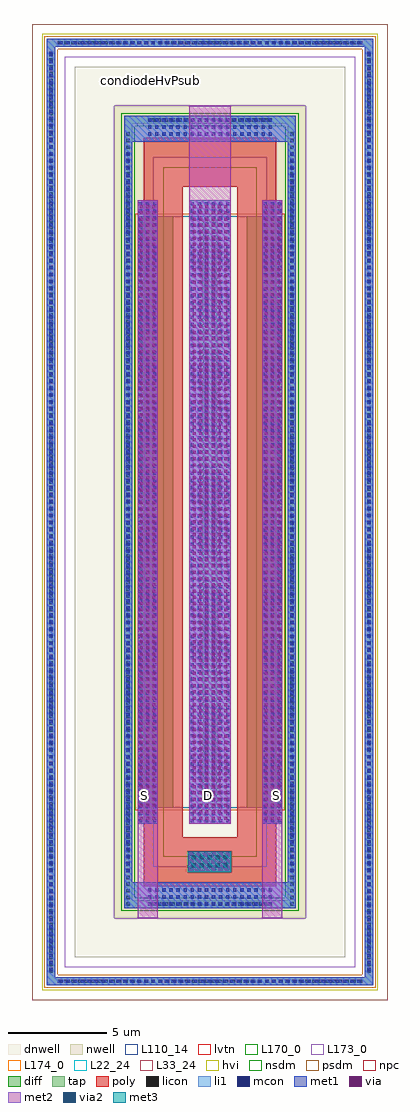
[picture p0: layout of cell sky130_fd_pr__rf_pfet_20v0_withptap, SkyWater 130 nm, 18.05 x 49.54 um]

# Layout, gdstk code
import gdstk
lib = gdstk.Library(unit=1e-6, precision=1e-09)
def R(c, l, rs):  # rectangles x0, y0, x1, y1
    for r in rs: c.add(gdstk.rectangle(r[:2], r[2:], *l))
def A(c, l, x, y, w, h, nx, ny, dx, dy):  # array of equal rectangles
    R(c, l, [(x+i*dx, y+j*dy, x+i*dx+w, y+j*dy+h) for i in range(nx) for j in range(ny)])
def P(c, l, *ps):  # polygons
    for p in ps: c.add(gdstk.Polygon(p, *l))
L22_24 = (22, 24)
L33_24 = (33, 24)
dnwell = (64, 18)
nwell = (64, 20)
diff = (65, 20)
tap = (65, 44)
poly = (66, 20)
licon = (66, 44)
li1 = (67, 20)
mcon = (67, 44)
met1 = (68, 20)
via = (68, 44)
met2 = (69, 20)
via2 = (69, 44)
met3 = (70, 20)
hvi = (75, 20)
nsdm = (93, 44)
psdm = (94, 20)
npc = (95, 20)
L110_14 = (110, 14)
lvtn = (125, 44)
L170_0 = (170, 0)
L173_0 = (173, 0)
L174_0 = (174, 0)

sky130_fd_pr__rf_pfet_20 = lib.new_cell('sky130_fd_pr__rf_pfet_20v0_withptap')
R(sky130_fd_pr__rf_pfet_20, L22_24, [(-8.65,-9.77,9.4,39.77)])
R(sky130_fd_pr__rf_pfet_20, L33_24, [(-8.65,-9.77,9.4,39.77)])
R(sky130_fd_pr__rf_pfet_20, dnwell, [(-6.49,-7.61,7.24,37.61)])
P(sky130_fd_pr__rf_pfet_20, nwell, [(-4.49,-5.61),(-4.49,33),(-2.5,33),(-2.5,-3),(3.25,-3),(3.25,33),(-4.49,33),(-4.49,35.61),(5.24,35.61),(5.24,-5.61)])
R(sky130_fd_pr__rf_pfet_20, diff, [(-3.29,0,-2.5,30), (3.25,0,4.04,30), (-3.27,0.045,-3.02,29.915), (3.77,0.045,4.02,29.915)])
R(sky130_fd_pr__rf_pfet_20, tap, [(-7.48,-9.02,8.23,-8.61), (-7.9,-8.51,-7.49,38.48), (8.24,-8.51,8.65,38.48), (-3.99,-5.11,-3.58,34.4), (-2.72,-5.11,3.47,-4.7), (4.33,-5.11,4.74,34.4), (-2.5,0,-1.5,30), (2.25,0,3.25,30), (0,0.165,0.75,29.815), (-2.72,34.7,3.47,35.11), (-7.48,38.61,8.23,39.02)])
P(sky130_fd_pr__rf_pfet_20, tap, [(0.15,0),(0.6,0),(0.75,0.15),(0.75,29.85),(0.6,30),(0.15,30),(0,29.85),(0,0.15)],
  [(4.74,35.11),(4.33,35.11),(4.33,-4.7),(-3.58,-4.7),(-3.58,34.7),(4.33,34.7),(4.33,35.11),(-3.99,35.11),(-3.99,-5.11),(4.74,-5.11)],
  [(8.65,39.02),(8.24,39.02),(8.24,-8.61),(-7.49,-8.61),(-7.49,38.61),(8.24,38.61),(8.24,39.02),(-7.9,39.02),(-7.9,-9.02),(8.65,-9.02)])
R(sky130_fd_pr__rf_pfet_20, poly, [(-0.73,-3.285,-0.4,-2.955), (-0.73,-3.285,-0.4,-2.955), (-0.36,-3.285,-0.03,-2.955), (-0.36,-3.285,-0.03,-2.955), (0.01,-3.285,0.34,-2.955), (0.01,-3.285,0.34,-2.955), (0.38,-3.285,0.71,-2.955), (0.38,-3.285,0.71,-2.955), (0.75,-3.285,1.08,-2.955), (0.75,-3.285,1.08,-2.955), (1.12,-3.285,1.45,-2.955), (1.12,-3.285,1.45,-2.955), (-0.73,-2.915,-0.4,-2.585), (-0.73,-2.915,-0.4,-2.585), (-0.36,-2.915,-0.03,-2.585), (-0.36,-2.915,-0.03,-2.585), (0.01,-2.915,0.34,-2.585), (0.01,-2.915,0.34,-2.585), (0.38,-2.915,0.71,-2.585), (0.38,-2.915,0.71,-2.585), (0.75,-2.915,1.08,-2.585), (0.75,-2.915,1.08,-2.585), (1.12,-2.915,1.45,-2.585), (1.12,-2.915,1.45,-2.585), (-0.73,-2.545,-0.4,-2.215), (-0.73,-2.545,-0.4,-2.215), (-0.36,-2.545,-0.03,-2.215), (-0.36,-2.545,-0.03,-2.215), (0.01,-2.545,0.34,-2.215), (0.01,-2.545,0.34,-2.215), (0.38,-2.545,0.71,-2.215), (0.38,-2.545,0.71,-2.215), (0.75,-2.545,1.08,-2.215), (0.75,-2.545,1.08,-2.215), (1.12,-2.545,1.45,-2.215), (1.12,-2.545,1.45,-2.215)])
P(sky130_fd_pr__rf_pfet_20, poly, [(3.75,34),(1.75,34),(1.75,-1.5),(-1,-1.5),(-1,31.5),(1.75,31.5),(1.75,34),(-3,34),(-3,-4),(3.75,-4)])
A(sky130_fd_pr__rf_pfet_20, licon, -7.36, -8.9, 0.17, 0.17, 46, 2, 0.34, 47.63)
A(sky130_fd_pr__rf_pfet_20, licon, -7.78, -8.39, 0.17, 0.17, 1, 138, 0, 0.34)
A(sky130_fd_pr__rf_pfet_20, licon, 8.36, -8.39, 0.17, 0.17, 1, 138, 0, 0.34)
A(sky130_fd_pr__rf_pfet_20, licon, -3.87, -4.99, 0.17, 0.17, 1, 116, 0, 0.34)
A(sky130_fd_pr__rf_pfet_20, licon, -2.6, -4.99, 0.17, 0.17, 18, 2, 0.34, 39.81)
A(sky130_fd_pr__rf_pfet_20, licon, 4.45, -4.99, 0.17, 0.17, 1, 116, 0, 0.34)
A(sky130_fd_pr__rf_pfet_20, licon, -0.65, -3.205, 0.17, 0.17, 6, 3, 0.37, 0.37)
A(sky130_fd_pr__rf_pfet_20, licon, -3.23, 0.105, 0.17, 0.17, 1, 88, 0, 0.34)
A(sky130_fd_pr__rf_pfet_20, licon, 3.81, 0.105, 0.17, 0.17, 1, 88, 0, 0.34)
A(sky130_fd_pr__rf_pfet_20, licon, 0.12, 0.285, 0.17, 0.17, 1, 87, 0, 0.34)
A(sky130_fd_pr__rf_pfet_20, licon, 0.46, 0.285, 0.17, 0.17, 1, 87, 0, 0.34)
A(sky130_fd_pr__rf_pfet_20, li1, -0.73, -3.285, 0.33, 0.33, 6, 3, 0.37, 0.37)
A(sky130_fd_pr__rf_pfet_20, li1, -0.65, -3.205, 0.17, 0.17, 6, 3, 0.37, 0.37)
R(sky130_fd_pr__rf_pfet_20, li1, [(-7.44,-8.9,8.19,-8.73), (-7.27,-8.9,8.02,-8.73), (-7.86,-8.39,-7.53,38.36), (8.28,-8.39,8.61,38.36), (-7.78,-8.305,-7.61,38.305), (8.36,-8.305,8.53,38.305), (-3.99,-5.11,4.74,-3.785), (-3.99,-5.11,-3.58,35.11), (4.33,-5.11,4.74,35.11), (-3.95,-4.99,-3.62,34.28), (-2.77,-4.99,3.52,-4.1), (-2.68,-4.99,3.43,-4.82), (4.37,-4.99,4.7,34.28), (-0.73,-3.285,1.45,-2.215), (-3.87,-3.28,-3.7,33.25), (4.45,-3.28,4.62,33.25), (-3.295,-0.82,-2.285,30.825), (-0.67,-0.82,1.42,30.825), (3.035,-0.82,4.045,30.825), (-3.235,-0.76,-2.345,30.73), (-0.61,-0.76,1.36,30.73), (3.095,-0.76,3.985,30.73), (-3.23,0.025,-3.06,29.935), (3.81,0.025,3.98,29.935), (0.04,0.205,0.71,29.775), (-3.99,33.785,4.74,35.11), (-2.77,34.1,3.52,34.99), (-2.68,34.82,3.43,34.99), (-7.44,38.73,8.19,38.9), (-7.27,38.73,8.02,38.9)])
P(sky130_fd_pr__rf_pfet_20, li1, [(4.74,35.11),(4.33,35.11),(4.33,-4.7),(-3.58,-4.7),(-3.58,34.7),(4.33,34.7),(4.33,35.11),(-3.99,35.11),(-3.99,-5.11),(4.74,-5.11)],
  [(8.65,39.02),(8.24,39.02),(8.24,-8.61),(-7.49,-8.61),(-7.49,38.61),(8.24,38.61),(8.24,39.02),(-7.9,39.02),(-7.9,-9.02),(8.65,-9.02)])
A(sky130_fd_pr__rf_pfet_20, mcon, -7.27, -8.9, 0.17, 0.17, 43, 2, 0.36, 47.63)
A(sky130_fd_pr__rf_pfet_20, mcon, -7.78, -8.305, 0.17, 0.17, 1, 130, 0, 0.36)
A(sky130_fd_pr__rf_pfet_20, mcon, 8.36, -8.305, 0.17, 0.17, 1, 130, 0, 0.36)
A(sky130_fd_pr__rf_pfet_20, mcon, -2.77, -4.99, 0.17, 0.17, 18, 3, 0.36, 0.36)
A(sky130_fd_pr__rf_pfet_20, mcon, -3.87, -3.28, 0.17, 0.17, 1, 102, 0, 0.36)
A(sky130_fd_pr__rf_pfet_20, mcon, 4.45, -3.28, 0.17, 0.17, 1, 102, 0, 0.36)
A(sky130_fd_pr__rf_pfet_20, mcon, -0.65, -3.205, 0.17, 0.17, 6, 3, 0.37, 0.37)
A(sky130_fd_pr__rf_pfet_20, mcon, -3.235, -0.76, 0.17, 0.17, 3, 88, 0.36, 0.36)
A(sky130_fd_pr__rf_pfet_20, mcon, -0.61, -0.76, 0.17, 0.17, 6, 88, 0.36, 0.36)
A(sky130_fd_pr__rf_pfet_20, mcon, 3.095, -0.76, 0.17, 0.17, 3, 88, 0.36, 0.36)
A(sky130_fd_pr__rf_pfet_20, mcon, -2.77, 34.1, 0.17, 0.17, 18, 3, 0.36, 0.36)
A(sky130_fd_pr__rf_pfet_20, met1, -0.725, -3.28, 0.32, 0.32, 6, 3, 0.37, 0.37)
A(sky130_fd_pr__rf_pfet_20, met1, -0.71, -3.265, 0.29, 0.29, 6, 3, 0.37, 0.37)
R(sky130_fd_pr__rf_pfet_20, met1, [(-7.33,-8.96,8.08,-8.67), (-7.84,-8.365,-7.55,38.365), (8.3,-8.365,8.59,38.365), (-3.99,-5.11,4.74,-3.785), (-2.83,-5.05,3.58,-4.04), (-3.93,-3.34,-3.64,33.31), (4.39,-3.34,4.68,33.31), (-0.73,-3.285,1.45,-2.215), (-3.295,-0.82,-2.285,30.825), (-3.295,-0.82,-2.285,30.79), (-0.67,-0.82,1.42,30.825), (-0.67,-0.82,1.42,30.79), (3.035,-0.82,4.045,30.825), (3.035,-0.82,4.045,30.79), (-3.27,-0.695,-2.31,30.665), (-0.585,-0.695,1.335,30.665), (3.06,-0.695,4.02,30.665), (-3.99,33.785,4.74,35.11), (-2.83,34.04,3.58,35.05), (-7.33,38.67,8.08,38.96)])
P(sky130_fd_pr__rf_pfet_20, met1, [(4.74,33.785),(4.33,33.785),(4.33,-4.7),(-3.58,-4.7),(-3.58,33.785),(-3.99,33.785),(-3.99,-5.11),(4.74,-5.11)],
  [(8.65,39.02),(8.24,39.02),(8.24,-8.61),(-7.49,-8.61),(-7.49,38.61),(8.24,38.61),(8.24,39.02),(-7.9,39.02),(-7.9,-9.02),(8.65,-9.02)])
A(sky130_fd_pr__rf_pfet_20, via, -0.64, -3.195, 0.15, 0.15, 6, 3, 0.37, 0.37)
A(sky130_fd_pr__rf_pfet_20, via, -3.185, -0.61, 0.15, 0.15, 3, 98, 0.32, 0.32)
A(sky130_fd_pr__rf_pfet_20, via, -0.5, -0.61, 0.15, 0.15, 6, 98, 0.32, 0.32)
A(sky130_fd_pr__rf_pfet_20, via, 3.145, -0.61, 0.15, 0.15, 3, 98, 0.32, 0.32)
R(sky130_fd_pr__rf_pfet_20, met2, [(-3.295,-5.61,-2.285,0), (3.035,-5.61,4.045,0), (-0.73,-3.285,1.45,-2.215), (-0.725,-3.28,-0.405,-2.96), (-0.725,-3.28,-0.405,-2.96), (-0.355,-3.28,-0.035,-2.96), (-0.355,-3.28,-0.035,-2.96), (0.015,-3.28,0.335,-2.96), (0.015,-3.28,0.335,-2.96), (0.385,-3.28,0.705,-2.96), (0.385,-3.28,0.705,-2.96), (0.755,-3.28,1.075,-2.96), (0.755,-3.28,1.075,-2.96), (1.125,-3.28,1.445,-2.96), (1.125,-3.28,1.445,-2.96), (-0.625,-3.12,1.345,-2.35), (-0.725,-2.91,-0.405,-2.59), (-0.725,-2.91,-0.405,-2.59), (-0.355,-2.91,-0.035,-2.59), (-0.355,-2.91,-0.035,-2.59), (0.015,-2.91,0.335,-2.59), (0.015,-2.91,0.335,-2.59), (0.385,-2.91,0.705,-2.59), (0.385,-2.91,0.705,-2.59), (0.755,-2.91,1.075,-2.59), (0.755,-2.91,1.075,-2.59), (1.125,-2.91,1.445,-2.59), (1.125,-2.91,1.445,-2.59), (-0.725,-2.54,-0.405,-2.22), (-0.725,-2.54,-0.405,-2.22), (-0.355,-2.54,-0.035,-2.22), (-0.355,-2.54,-0.035,-2.22), (0.015,-2.54,0.335,-2.22), (0.015,-2.54,0.335,-2.22), (0.385,-2.54,0.705,-2.22), (0.385,-2.54,0.705,-2.22), (0.755,-2.54,1.075,-2.22), (0.755,-2.54,1.075,-2.22), (1.125,-2.54,1.445,-2.22), (1.125,-2.54,1.445,-2.22), (-3.295,-0.82,-2.285,30.825), (-0.67,-0.82,1.42,30.825), (3.035,-0.82,4.045,30.825), (-3.27,-0.695,-2.31,30.665), (-0.585,-0.695,1.335,30.665), (3.06,-0.695,4.02,30.665), (-0.67,30,1.42,35.61)])
A(sky130_fd_pr__rf_pfet_20, via2, -0.54, -3.035, 0.2, 0.2, 5, 2, 0.4, 0.4)
R(sky130_fd_pr__rf_pfet_20, met3, [(-0.75,-3.285,1.45,-2.215), (-0.605,-3.1,1.325,-2.37)])
R(sky130_fd_pr__rf_pfet_20, hvi, [(-8.15,-9.27,8.9,39.27), (-6.69,-7.81,7.44,37.81)])
R(sky130_fd_pr__rf_pfet_20, nsdm, [(-4.12,-5.24,4.87,-4.57), (-4.12,-5.24,-3.45,35.24), (4.2,-5.24,4.87,35.24), (-4.12,34,-3.45,34.57), (4.2,34,4.87,34.57), (-4.12,34.57,4.87,35.24)])
R(sky130_fd_pr__rf_pfet_20, psdm, [(-8.03,-9.15,-7.35,39.15), (-8.03,-9.15,8.79,-8.48), (8.11,-9.15,8.79,39.15), (-3.42,-0.13,4.17,30.13), (-8.03,38.48,8.79,39.15)])
A(sky130_fd_pr__rf_pfet_20, npc, -0.75, -3.305, 0.37, 0.37, 6, 3, 0.37, 0.37)
R(sky130_fd_pr__rf_pfet_20, L110_14, [(-3.29,0,4.04,30)])
R(sky130_fd_pr__rf_pfet_20, lvtn, [(-2.5,-3,3.25,33)])
R(sky130_fd_pr__rf_pfet_20, L170_0, [(-2,-2.5,2.75,32.5)])
R(sky130_fd_pr__rf_pfet_20, L173_0, [(-6.99,-8.11,7.74,-5.61), (-6.99,-8.11,-4.49,38.11), (5.24,-8.11,7.74,38.11), (-2.5,-3,3.25,33), (-6.99,35.61,7.74,38.11)])
R(sky130_fd_pr__rf_pfet_20, L174_0, [(-8.65,-9.77,9.4,39.77), (-7.37,-8.51,8.12,38.51)])
sky130_fd_pr__rf_pfet_20.add(gdstk.Label('S', (3.75,0.61), layer=83, texttype=44))
sky130_fd_pr__rf_pfet_20.add(gdstk.Label('condiodeHvPsub', (-2.64,36.9), layer=83, texttype=44))
sky130_fd_pr__rf_pfet_20.add(gdstk.Label('D', (0.31,0.61), layer=83, texttype=44))
sky130_fd_pr__rf_pfet_20.add(gdstk.Label('S', (-2.945,0.61), layer=83, texttype=44))

lib.write_gds('sky130_fd_pr__rf_pfet_20v0_withptap.gds')
